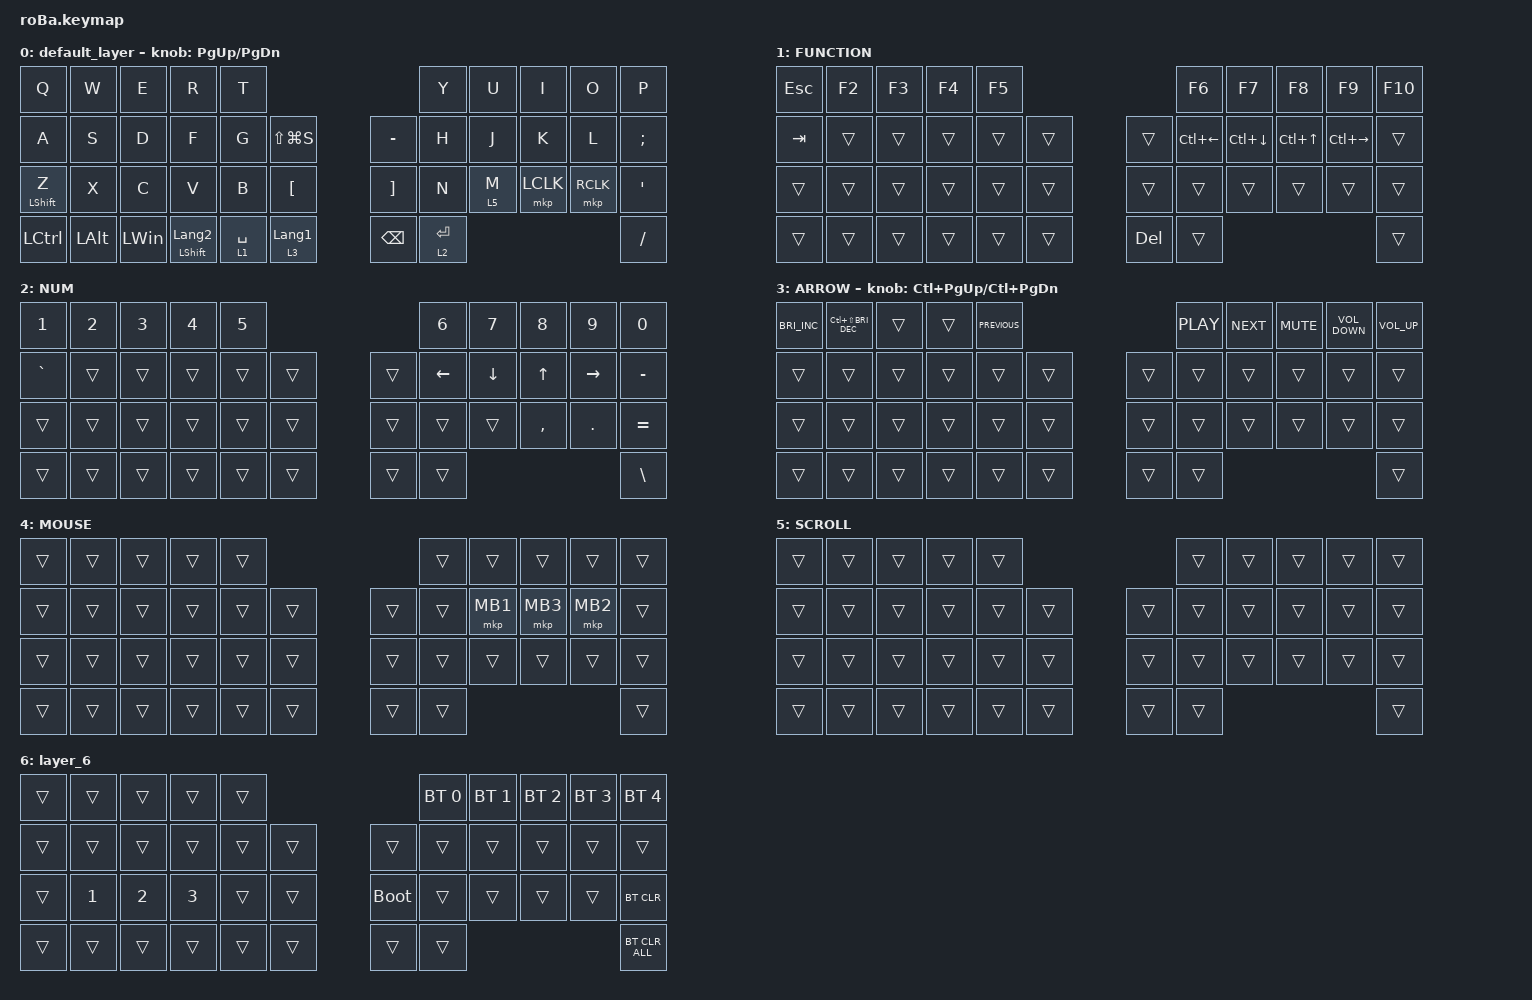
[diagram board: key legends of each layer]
#include <behaviors.dtsi>
#include <dt-bindings/zmk/bt.h>
#include <dt-bindings/zmk/keys.h>
#include <dt-bindings/zmk/pointing.h>

&mt {
    flavor = "balanced";
    quick-tap-ms = <0>;
};

&trackball {
    automouse-layer = <4>;
    scroll-layers = <5>;

    // arrows {
    //     layers = <3>;
    //     bindings =
    //         <&kp RIGHT_ARROW>,
    //         <&kp LEFT_ARROW>,
    //         <&kp UP_ARROW>,
    //         <&kp DOWN_ARROW>;
    //     tick = <10>;
    //     wait-ms = <5>;
    //     tap-ms = <5>;
    // };
};

/ {
    combos {
        compatible = "zmk,combos";

        tab {
            bindings = <&kp TAB>;
            key-positions = <11 12>;
        };

        shift_tab {
            bindings = <&kp LS(TAB)>;
            key-positions = <12 13>;
        };

        muhennkann {
            bindings = <&to_layer_0 INT_MUHENKAN>;
            key-positions = <11 10>;
        };

        double_quotation {
            bindings = <&kp DOUBLE_QUOTES>;
            key-positions = <20 21>;
        };

        eq {
            bindings = <&kp EQUAL>;
            key-positions = <24 25>;
        };
    };

    macros {
        to_layer_0: to_layer_0 {
            compatible = "zmk,behavior-macro-one-param";
            #binding-cells = <1>;
            bindings = <&to 0 &macro_param_1to1 &kp MACRO_PLACEHOLDER>;
            label = "TO_LAYER_0";
        };
    };

    behaviors {
        lt_to_layer_0: lt_to_layer_0 {
            compatible = "zmk,behavior-hold-tap";
            label = "LAYER_TAP_TO_0";
            bindings = <&mo>, <&to_layer_0>;

            #binding-cells = <2>;
            tapping-term-ms = <200>;
        };
    };

    keymap {
        compatible = "zmk,keymap";

        default_layer {
            bindings = <
&kp Q             &kp W         &kp E         &kp R                      &kp T                                                            &kp Y        &kp U    &kp I      &kp O      &kp P
&kp A             &kp S         &kp D         &kp F                      &kp G        &kp LS(LG(S))                    &kp MINUS          &kp H        &kp J    &kp K      &kp L      &kp SEMICOLON
&mt LEFT_SHIFT Z  &kp X         &kp C         &kp V                      &kp B        &kp LEFT_BRACKET                 &kp RIGHT_BRACKET  &kp N        &lt 5 M  &mkp LCLK  &mkp RCLK  &kp SQT
&kp LCTRL         &kp LEFT_ALT  &kp LEFT_WIN  &mt LEFT_SHIFT LANGUAGE_2  &lt 1 SPACE  &lt_to_layer_0 3 LANGUAGE_1      &kp BACKSPACE      &lt 2 ENTER                                 &kp SLASH
            >;

            sensor-bindings = <&inc_dec_kp PG_UP PAGE_DOWN>;
        };

        FUNCTION {
            bindings = <
&kp ESCAPE  &kp F2  &kp F3  &kp F4  &kp F5                          &kp F6              &kp F7              &kp F8            &kp F9               &kp F10
&kp TAB     &trans  &trans  &trans  &trans  &trans      &trans      &kp LC(LEFT_ARROW)  &kp LC(DOWN_ARROW)  &kp LC(UP_ARROW)  &kp LC(RIGHT_ARROW)  &trans
&trans      &trans  &trans  &trans  &trans  &trans      &trans      &trans              &trans              &trans            &trans               &trans
&trans      &trans  &trans  &trans  &trans  &trans      &kp DELETE  &trans                                                                         &trans
            >;
        };

        NUM {
            bindings = <
&kp NUMBER_1  &kp NUMBER_2  &kp NUMBER_3  &kp NUMBER_4  &kp NUMBER_5                      &kp NUMBER_6    &kp NUMBER_7    &kp NUMBER_8  &kp NUMBER_9     &kp NUMBER_0
&kp GRAVE     &trans        &trans        &trans        &trans        &trans      &trans  &kp LEFT_ARROW  &kp DOWN_ARROW  &kp UP_ARROW  &kp RIGHT_ARROW  &kp MINUS
&trans        &trans        &trans        &trans        &trans        &trans      &trans  &trans          &trans          &kp COMMA     &kp PERIOD       &kp EQUAL
&trans        &trans        &trans        &trans        &trans        &trans      &trans  &trans                                                         &kp BACKSLASH
            >;
        };

        ARROW {
            bindings = <
&kp C_BRIGHTNESS_INC  &kp LC(LS(C_BRIGHTNESS_DEC))  &trans  &trans  &kp C_PREVIOUS                      &kp C_PLAY  &kp C_NEXT  &kp C_MUTE  &kp C_VOLUME_DOWN  &kp C_VOLUME_UP
&trans                &trans                        &trans  &trans  &trans          &trans      &trans  &trans      &trans      &trans      &trans             &trans
&trans                &trans                        &trans  &trans  &trans          &trans      &trans  &trans      &trans      &trans      &trans             &trans
&trans                &trans                        &trans  &trans  &trans          &trans      &trans  &trans                                                 &trans
            >;

            sensor-bindings = <&inc_dec_kp LC(PAGE_UP) LC(PAGE_DOWN)>;
        };

        MOUSE {
            bindings = <
&trans  &trans  &trans  &trans  &trans                      &trans  &trans    &trans    &trans    &trans
&trans  &trans  &trans  &trans  &trans  &trans      &trans  &trans  &mkp MB1  &mkp MB3  &mkp MB2  &trans
&trans  &trans  &trans  &trans  &trans  &trans      &trans  &trans  &trans    &trans    &trans    &trans
&trans  &trans  &trans  &trans  &trans  &trans      &trans  &trans                                &trans
            >;
        };

        SCROLL {
            bindings = <
&trans  &trans  &trans  &trans  &trans                      &trans  &trans  &trans  &trans  &trans
&trans  &trans  &trans  &trans  &trans  &trans      &trans  &trans  &trans  &trans  &trans  &trans
&trans  &trans  &trans  &trans  &trans  &trans      &trans  &trans  &trans  &trans  &trans  &trans
&trans  &trans  &trans  &trans  &trans  &trans      &trans  &trans                          &trans
            >;
        };

        layer_6 {
            bindings = <
&trans  &trans        &trans        &trans        &trans                           &bt BT_SEL 0  &bt BT_SEL 1  &bt BT_SEL 2  &bt BT_SEL 3  &bt BT_SEL 4
&trans  &trans        &trans        &trans        &trans  &trans      &trans       &trans        &trans        &trans        &trans        &trans
&trans  &kp NUMBER_1  &kp NUMBER_2  &kp NUMBER_3  &trans  &trans      &bootloader  &trans        &trans        &trans        &trans        &bt BT_CLR
&trans  &trans        &trans        &trans        &trans  &trans      &trans       &trans                                                  &bt BT_CLR_ALL
            >;
        };
    };
};
